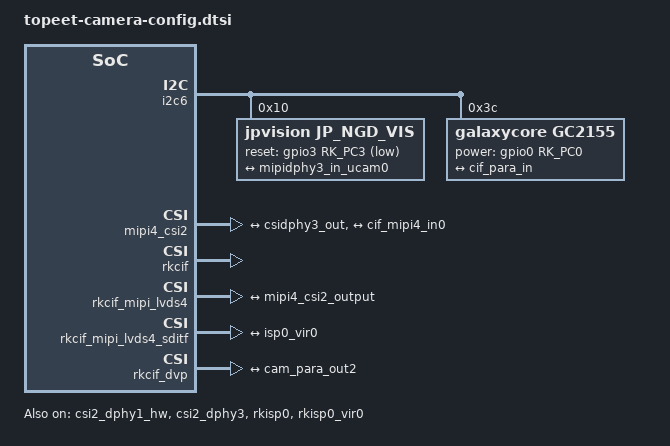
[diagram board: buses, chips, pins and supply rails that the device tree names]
&pinctrl {
	cam {
		vis_reset: vis-reset {
			rockchip,pins =
			/* camera power en */
			<3 RK_PC1 RK_FUNC_GPIO &pcfg_pull_none>;
		};
	};
};

&csi2_dphy1_hw {
	status = "okay";
};

&i2c6 {
	status = "okay";
	pinctrl-0 = <&i2c6m0_xfer>;

	jp_ngd_vis: jp_ngd_vis@10 {
		status = "okay";
		compatible = "jpvision,jp_ngd_vis";
		reg = <0x10>;
		clocks = <&cru CLK_MIPI_CAMARAOUT_M4>;
		clock-names = "xvclk";
		power-domains = <&power RK3588_PD_VI>;
		pinctrl-names = "default";
		pinctrl-0 = <&mipim0_camera4_clk &vis_reset>;
		reset-gpios = <&gpio3 RK_PC3 GPIO_ACTIVE_LOW>;
		rockchip,camera-module-index = <3>;
		rockchip,camera-module-facing = "back";
		rockchip,camera-module-name = "default";
		rockchip,camera-module-lens-name = "default";
		port {
			ngd_vis_out: endpoint {
				remote-endpoint = <&mipidphy3_in_ucam0>;
				data-lanes = <1 2 3 4>;
			};
		};
	};

	gc2155: gc2155@3c {
			compatible = "galaxycore,gc2155";
			reg = <0x3c>;
			status = "okay";
			clocks = <&cru CLK_CIFOUT_OUT>;
			clock-names = "xvclk";
			pinctrl-names = "default";
			pinctrl-0 = <&cif_dvp_bus16>, <&cif_dvp_clk>;
			power-gpios = <&gpio0 RK_PC0 GPIO_ACTIVE_HIGH>;
			rockchip,camera-module-index = <0>;
			rockchip,camera-module-facing = "front";
			rockchip,camera-module-name = "default"; 
			rockchip,camera-module-lens-name = "default"; 

			port {
				cam_para_out2: endpoint{
					remote-endpoint = <&cif_para_in>; 
				};
			};
		};
};

&csi2_dphy3 {
	status = "okay";

	ports {
		#address-cells = <1>;
		#size-cells = <0>;
		port@0 {
			reg = <0>;
			#address-cells = <1>;
			#size-cells = <0>;

			mipidphy3_in_ucam0: endpoint@1 {
				reg = <1>;
				remote-endpoint = <&ngd_vis_out>;
				data-lanes = <1 2 3 4>;
			};
		};

		port@1 {
			reg = <1>;
			#address-cells = <1>;
			#size-cells = <0>;

			csidphy3_out: endpoint@0 {
				reg = <0>;
				remote-endpoint = <&mipi4_csi2_input>;
			};
		};
	};
};


&mipi4_csi2 {
	status = "okay";
	ports {
		#address-cells = <1>;
		#size-cells = <0>;

		port@0 {
			reg = <0>;
			#address-cells = <1>;
			#size-cells = <0>;

			mipi4_csi2_input: endpoint@1 {
				reg = <1>;
				remote-endpoint = <&csidphy3_out>;
			};
		};

		port@1 {
			reg = <1>;
			#address-cells = <1>;
			#size-cells = <0>;

			mipi4_csi2_output: endpoint@0 {
				reg = <0>;
				remote-endpoint = <&cif_mipi4_in0>;
			};
		};
	};
};

&rkcif {
	status = "okay";
};

&rkcif_mipi_lvds4 {
	status = "okay";

	port {
		cif_mipi4_in0: endpoint {
			remote-endpoint = <&mipi4_csi2_output>;
		};
	};
};


&rkcif_mipi_lvds4_sditf {
	status = "okay";

	port {
		mipi_lvds4_sditf: endpoint {
			remote-endpoint = <&isp0_vir0>;
		};
	};
};

&rkcif_mmu {
	status = "okay";
};

&rkisp0 {
	status = "okay";
};

&isp0_mmu {
	status = "okay";
};

&rkisp0_vir0 {
	status = "okay";

	port {
		#address-cells = <1>;
		#size-cells = <0>;

		isp0_vir0: endpoint@0 {
			reg = <0>;
			remote-endpoint = <&mipi_lvds4_sditf>;
		};
	};
};

&rkcif_dvp {
	status = "okay";

	port {
		cif_para_in: endpoint {
			remote-endpoint = <&cam_para_out2>;
			bus-width = <8>;
			hsync-active = <1>;
			vsync-active = <1>;
			pclk-sample = <0>;
		};
	};
};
